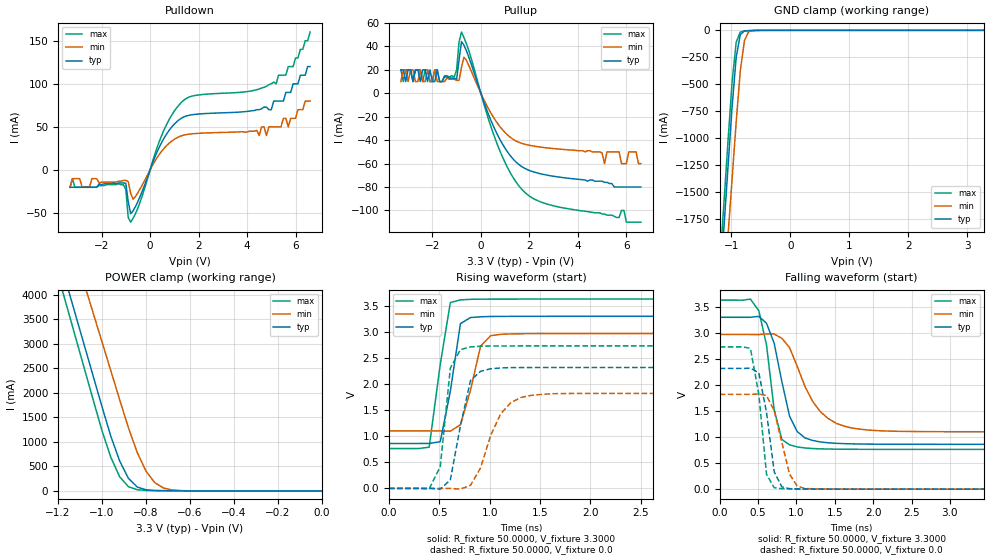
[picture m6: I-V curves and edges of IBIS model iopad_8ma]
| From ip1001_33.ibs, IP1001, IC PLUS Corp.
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|   Model iopad_8ma
[Model]  iopad_8ma
Model_type I/O
Polarity   Non-Inverting
Enable   Active-Low
Vinl =   0.8000V
Vinh =   1.8000V
Vmeas =  1.2500V
C_comp   0.3000pF   0.2400pF   0.3600pF
[Temperature Range]   27.0000   100.0000   0.0
[Voltage Range]   3.3000V   2.9700V   3.6300V
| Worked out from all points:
|   slope of the pulldown table from 0 to 0.495 V, typ, clamps not added: 15.1 ohm
|   slope of the pullup table from 0 to 0.495 V, typ, clamps not added: 18.3 ohm
|   GND clamp passes 1 mA (typ) near -0.63 V on its own axis
|   POWER clamp passes 1 mA (typ) near -0.57 V on its own axis
|   rising waveform, R_fixture 50.0000, V_fixture 3.3000: 20-80 % time 126ps typ, 146ps min, 129ps max; typ from 0.861 V to 3.3 V
|   rising waveform, R_fixture 50.0000, V_fixture 0.0: 20-80 % time 146ps typ, 221ps min, 86.8ps max; typ from 0 V to 2.32 V
|   falling waveform, R_fixture 50.0000, V_fixture 3.3000: 20-80 % time 221ps typ, 376ps min, 176ps max; typ from 3.3 V to 0.861 V
|   falling waveform, R_fixture 50.0000, V_fixture 0.0: 20-80 % time 139ps typ, 179ps min, 128ps max; typ from 2.32 V to 0 V
[Pulldown]
|Voltage   I(typ)   I(min)   I(max)
-3.3V     -20mA      -20mA      -20mA
-1.1V     -15mA      -12mA      -17mA
-1V       -15.4mA    -12mA      -22.4mA
-900mV    -36.7mA    -13.5mA    -54.96mA
-800mV    -50.73mA   -27mA      -60.51mA
-600mV    -42.39mA   -30.68mA   -50.56mA
500mV     33.1mA     22.56mA    41.54mA
1.3V      60.24mA    39.76mA    78.68mA
5.2V      80mA       50mA       100mA
5.5V      80mA       60mA       110mA
5.7V      90mA       50mA       120mA
6.6V      120mA      80mA       160mA
[Pullup]
|Voltage   I(typ)   I(min)   I(max)
-3.3V     20mA       10mA       20mA
-3.2V     20mA       20mA       10mA
-3.1V     10mA       20mA       20mA
-3V       20mA       10mA       20mA
-2.9V     20mA       20mA       20mA
-1.1V     13mA       12mA       14mA
-1V       12mA       11mA       20mA
-800mV    44.16mA    22.1mA     52.23mA
-600mV    36.37mA    28.19mA    42.4mA
700mV     -36.01mA   -26.06mA   -44.82mA
1.7V      -62.75mA   -42.83mA   -82.21mA
6.6V      -80mA      -60mA      -110mA
[GND_clamp]
|Voltage   I(typ)   I(min)   I(max)
-3.3V     -19.41A    -18.96A    -19.6A
-1.2V     -2.411A    -2.98A     -2.198A
-1.13V    -1.844A    -2.447A    -1.618A
-1.06V    -1.278A    -1.914A    -1.038A
-990mV    -713.1mA   -1.382A    -481.3mA
-920mV    -248.8mA   -849.4mA   -111.1mA
-850mV    -39.02mA   -373.5mA   -15.88mA
-780mV    -6.109mA   -94.67mA   -6.703mA
-710mV    -2.353mA   -14.34mA   -4.375mA
-640mV    -1.103mA   -2.066mA   -2.655mA
3.28V     43.51pA    3.97uA     -63.91pA
[POWER_clamp]
|Voltage   I(typ)   I(min)   I(max)
-3.28V    37.2A      36.47A     37.52A
-1.2V     4.828A     5.969A     4.4A
-1.16V    4.205A     5.382A     3.763A
-1.12V    3.582A     4.796A     3.126A
-1.08V    2.96A      4.209A     2.489A
-1.04V    2.337A     3.622A     1.852A
-960mV    1.113A     2.449A     685.8mA
-920mV    611.4mA    1.862A     288.4mA
-840mV    79.46mA    783.6mA    24.69mA
-760mV    7.994mA    166.4mA    7.074mA
-640mV    2.007mA    6.178mA    3.575mA
0V        106.5pA    303.7pA    167.4pA
[Ramp]
| variable   typ   min   max
dV/dt_r  1.3908/0.1465n   1.0926/0.2211n   1.6392/86.7990p
dV/dt_f  1.4632/0.2205n   1.1208/0.3764n   1.7194/0.1765n
R_load = 50.0000
[Rising Waveform]
R_fixture= 50.0000
V_fixture= 3.3000
V_fixture_min= 2.9700
V_fixture_max= 3.6300
|time   V(typ)   V(min)   V(max)
0s        861.4mV    1.102V     764.3mV
400ps     861.5mV    1.102V     790.3mV
510ps     895.1mV    1.102V     2.379V
610ps     1.864V     1.097V     3.563V
710ps     3.158V     1.22V      3.615V
810ps     3.276V     1.882V     3.625V
910ps     3.29V      2.728V     3.628V
1.01ns    3.296V     2.927V     3.629V
1.11ns    3.298V     2.954V     3.629V
10ns      3.3V       2.97V      3.63V
[Rising Waveform]
R_fixture= 50.0000
V_fixture= 0.0
V_fixture_min= 0.0
V_fixture_max= 0.0
|time   V(typ)   V(min)   V(max)
0s        0V         0V         0V
400ps     1.003mV    -10.19uV   -10.47mV
510ps     -14.74mV   142.2uV    418.5mV
610ps     163.8mV    -1.071mV   2.307V
710ps     1.2V       -13.76mV   2.661V
810ps     2.068V     58.65mV    2.713V
910ps     2.245V     393mV      2.726V
1.11ns    2.309V     1.43V      2.731V
1.41ns    2.317V     1.783V     2.732V
10ns      2.318V     1.821V     2.732V
[Falling Waveform]
R_fixture= 50.0000
V_fixture= 3.3000
V_fixture_min= 2.9700
V_fixture_max= 3.6300
|time   V(typ)   V(min)   V(max)
0s        3.3V       2.97V      3.63V
510ps     3.318V     2.968V     3.425V
610ps     3.185V     2.981V     2.768V
710ps     2.802V     2.98V      1.522V
810ps     2.065V     2.896V     954.2mV
910ps     1.402V     2.719V     851.1mV
1.01ns    1.106V     2.358V     811mV
1.31ns    906.9mV    1.489V     774.3mV
1.92ns    865.6mV    1.137V     764.7mV
10ns      861.4mV    1.102V     764.3mV
[Falling Waveform]
R_fixture= 50.0000
V_fixture= 0.0
V_fixture_min= 0.0
V_fixture_max= 0.0
|time   V(typ)   V(min)   V(max)
0s        2.318V     1.821V     2.732V
400ps     2.324V     1.82V      2.703V
510ps     2.233V     1.827V     1.82V
610ps     1.474V     1.797V     284.7mV
710ps     333.8mV    1.506V     29.54mV
810ps     43.31mV    896.2mV    8.213mV
910ps     10.03mV    288mV      4.546mV
1.01ns    5.562mV    58.63mV    2.574mV
1.11ns    3.441mV    13.11mV    1.575mV
10ns      -5.426uV   1.228uV    -1.555uV
